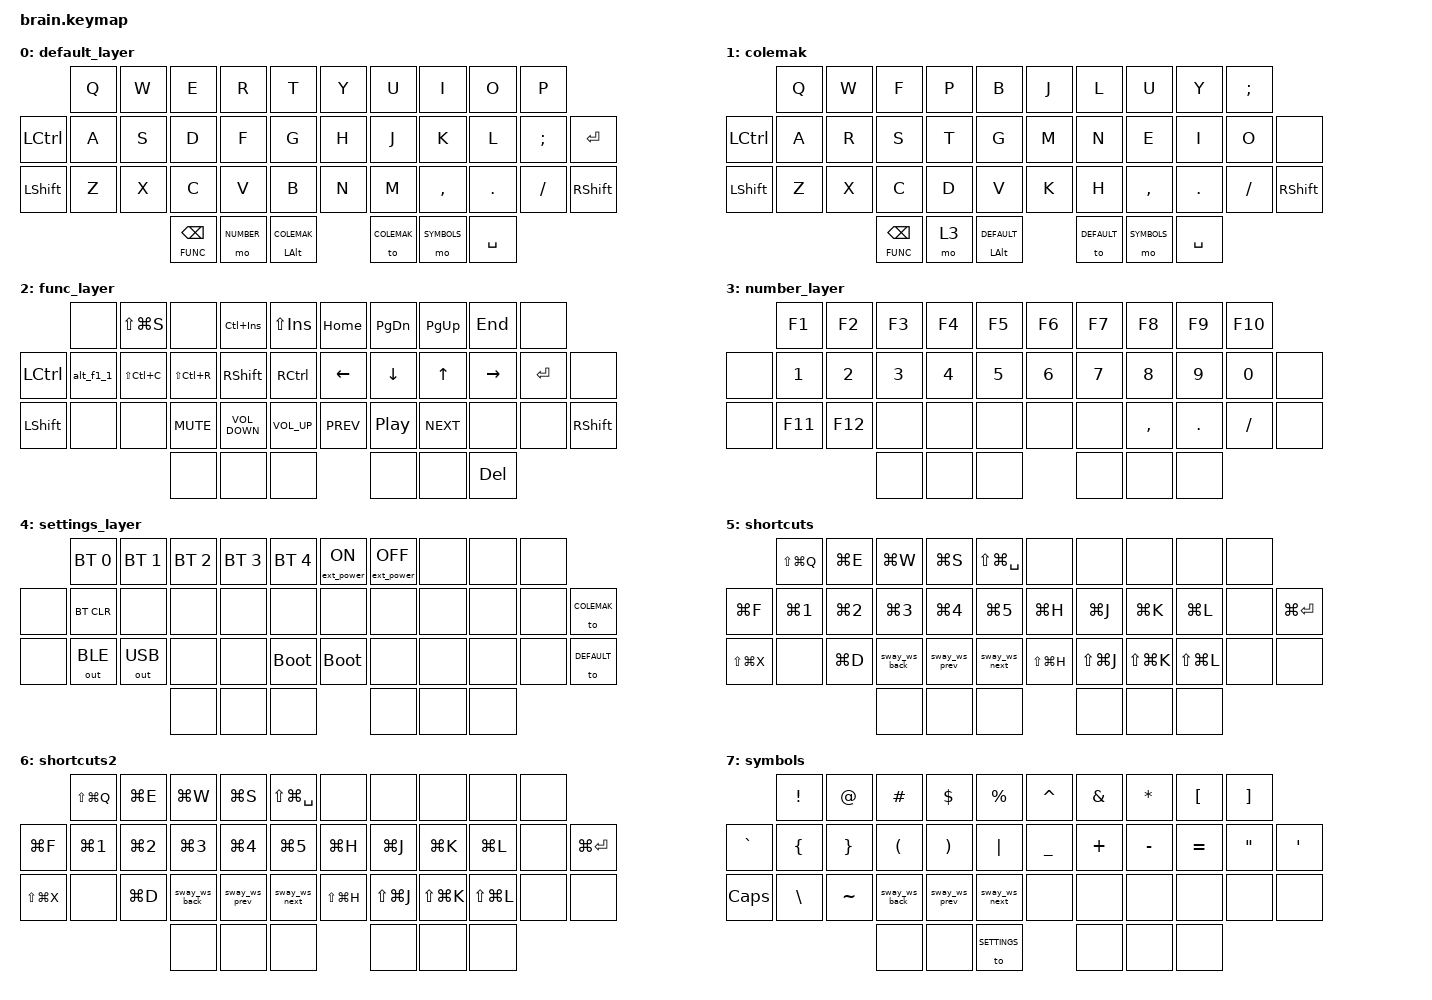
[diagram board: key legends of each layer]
/*
 * Copyright (c) 2020 The ZMK Contributors
 *
 * SPDX-License-Identifier: MIT
 */

#include <behaviors.dtsi>
#include <dt-bindings/zmk/bt.h>
#include <dt-bindings/zmk/ext_power.h>
#include <dt-bindings/zmk/keys.h>
#include <dt-bindings/zmk/outputs.h>
#ifndef KEYMAP_DRAWER
#include "swe_keys.h"
#endif

#define DEFAULT     0
#define COLEMAK		1
#define FUNC        2
#define NUMBER      3
#define SETTINGS    4
#define SHORTCUTS    5
#define SHORTCUTS2    6
#define SYMBOLS    7

/ {
    behaviors {

        lt_spc: lt_spc {
            compatible = "zmk,behavior-hold-tap";
            label = "LT_SPC";
            bindings = <&mo>, <&kp>;

            #binding-cells = <2>;
            quick-tap-ms = <200>;
            tapping-term-ms = <200>;
            flavor = "tap-preferred";
        };

        lt_tog: layer_toggle_tap {
            compatible = "zmk,behavior-hold-tap";
            label = "LAYER_TOGGLE_TAP";
            #binding-cells = <2>;
            tapping-term-ms = <200>;
            quick-tap-ms = <0>;
            flavor = "tap-preferred";
            bindings = <&kp>, <&to>;
        };
    };
    
    /*           40 Keys
╭─────────────────╮ ╭─────────────────╮
│    0  1  2  3  4│ │ 5  6  7  8  9   │
│10 11 12 13 14 15│ │16 17 18 19 20 21│
│22 23 24 25 26 27│ │28 29 30 31 32 33│
╰────────╮34 35 36│ │37 38 39╭────────╯
         ╰────────╯ ╰────────╯       */

    combos {
        compatible = "zmk,combos";

        combo_esc {
            timeout-ms = <50>;
            key-positions = <17 18>;
            bindings = <&kp ESC>;
        };

        combo_tab {
            timeout-ms = <50>;
            key-positions = <14 15>;
            bindings = <&kp TAB>;
        };


        combo_lgui {
            timeout-ms = <50>;
            key-positions = <24 25>;
            bindings = <&kp LGUI>;
        };

        escape2 {
            bindings = <&kp ESCAPE>;
            key-positions = <0 1>;
            timeout-ms = <50>;
        };

        tab_right {
            bindings = <&kp TAB>;
            key-positions = <16 17>;
            timeout-ms = <10>;
        };
    };

    macros {
        alt_f1_1: alt_f1_1 {
            compatible = "zmk,behavior-macro";
            #binding-cells = <0>;
            bindings = <&kp LA(F1) &kp LA(NUMBER_1)>;
	    label = "ALT_F1_1";
	};
	sway_ws_next: sway_ws_next {
		compatible = "zmk,behavior-macro";
		#binding-cells = <0>;
		bindings = <&kp LS(LG(N))>;
		label = "SWAY_WS_NEXT";
	};

	sway_ws_prev: sway_ws_prev {
		compatible = "zmk,behavior-macro";
		#binding-cells = <0>;
		bindings = <&kp LS(LG(P))>;
		label = "SWAY_WS_PREV";
	};

	sway_ws_back: sway_ws_back {
		compatible = "zmk,behavior-macro";
		#binding-cells = <0>;
		bindings = <&kp LS(LG(B))>;
		label = "SWAY_WS_BACK";
	};
    };

    keymap {
        compatible = "zmk,keymap";

        /*
         * Layer 0 — DEFAULT (QWERTY)
         *          ┌─────┬─────┬─────┬─────┬─────┐   ┌─────┬─────┬─────┬─────┬─────┐
         *          │  Q  │  W  │  E  │  R  │  T  │   │  Y  │  U  │  I  │  O  │  P  │
         * ┌────────┼─────┼─────┼─────┼─────┼─────┤   ├─────┼─────┼─────┼─────┼─────┼────────┐
         * │ LCTRL  │  A  │  S  │  D  │  F  │  G  │   │  H  │  J  │  K  │  L  │  ;  │  RET   │
         * ├────────┼─────┼─────┼─────┼─────┼─────┤   ├─────┼─────┼─────┼─────┼─────┼────────┤
         * │ LSHIFT │  Z  │  X  │  C  │  V  │  B  │   │  N  │  M  │  ,  │  .  │  /  │ RSHIFT │
         * └────────┴─────┴─────┴─────┴─────┴─────┘   └─────┴─────┴─────┴─────┴─────┴────────┘
         *                 ┌─────────┬─────┬─────────┐   ┌─────────┬─────┬─────┐
         *                 │ BSPC/L2 │ MO3 │ LALT/L6 │   │  DEL/L5 │ MO1 │ SPC │
         *                 └─────────┴─────┴─────────┘   └─────────┴─────┴─────┘
         */
        default_layer {
            bindings = <
            &kp Q  &kp W  &kp E                &kp R  &kp T	         	    &kp Y       &kp U  &kp I                         &kp O    &kp P
&kp LCTRL   &kp A  &kp S  &kp D                &kp F  &kp G         		&kp H       &kp J  &kp K                         &kp L    &kp SEMI  &kp RET
&kp LSHIFT  &kp Z  &kp X  &kp C                &kp V  &kp B         		&kp N       &kp M  &kp COMMA                     &kp DOT  &kp FSLH  &kp RSHIFT
                          &lt_spc FUNC BACKSPACE  &mo NUMBER  &lt_tog LALT COLEMAK	 	&to COLEMAK     &mo SYMBOLS  &kp SPACE
            >;
        };


        /*
         * Layer 7 — COLEMAK
         *          ┌─────┬─────┬─────┬─────┬─────┐   ┌─────┬─────┬─────┬─────┬─────┐
         *          │  Q  │  W  │  F  │  P  │  G  │   │  J  │  L  │  U  │  Y  │  ;  │
         * ┌────────┼─────┼─────┼─────┼─────┼─────┤   ├─────┼─────┼─────┼─────┼─────┼────────┐
         * │ LCTRL  │  A  │  R  │  S  │  T  │  D  │   │  H  │  N  │  E  │  I  │  O  │  RET   │
         * ├────────┼─────┼─────┼─────┼─────┼─────┤   ├─────┼─────┼─────┼─────┼─────┼────────┤
         * │ LSHIFT │  Z  │  X  │  C  │  V  │  B  │   │  K  │  M  │  ,  │  .  │  /  │ RSHIFT │
         * └────────┴─────┴─────┴─────┴─────┴─────┘   └─────┴─────┴─────┴─────┴─────┴────────┘
         *                 ┌─────────┬─────┬─────────┐   ┌─────────┬─────┬─────┐
         *                 │ BSPC/L2 │ MO3 │ LALT/L6 │   │  DEL/L5 │ MO1 │ SPC │
         *                 └─────────┴─────┴─────────┘   └─────────┴─────┴─────┘
         */
        colemak {
            bindings = <
            &kp Q  &kp W  &kp F                &kp P  &kp B	         	    &kp J       &kp L  &kp U        &kp Y    &kp SEMI
&kp LCTRL   &kp A  &kp R  &kp S                &kp T  &kp G         		&kp M       &kp N  &kp E        &kp I    &kp O     &none
&kp LSHIFT  &kp Z  &kp X  &kp C                &kp D  &kp V         		&kp K       &kp H  &kp COMMA    &kp DOT  &kp FSLH  &kp RSHIFT
                          &lt_spc FUNC BACKSPACE  &mo 3  &lt_tog LALT DEFAULT	 	&to DEFAULT &mo SYMBOLS  &kp SPACE
            >;
        };

        /*
         * Layer 2 — FUNC
         *          ┌─────┬─────┬─────┬─────┬─────┐   ┌─────┬─────┬─────┬─────┬─────┐
         *          │     │GS+S │     │C+INS│S+INS│   │HOME │PGDN │PGUP │ END │     │
         * ┌────────┼─────┼─────┼─────┼─────┼─────┤   ├─────┼─────┼─────┼─────┼─────┼────────┐
         * │ to:0   │AF1+1│SC+C │SC+R │RSHFT│RCTL │   │  ←  │  ↓  │  ↑  │  →  │     │        │
         * ├────────┼─────┼─────┼─────┼─────┼─────┤   ├─────┼─────┼─────┼─────┼─────┼────────┤
         * │ to:2   │     │     │MUTE │VOL- │VOL+ │   │PREV │ PP  │NEXT │     │     │        │
         * └────────┴─────┴─────┴─────┴─────┴─────┘   └─────┴─────┴─────┴─────┴─────┴────────┘
         *                 ┌─────────┬─────┬─────────┐   ┌─────────┬─────┬─────┐
         *                 │         │  ▽  │    ▽    │   │    ▽    │  ▽  │     │
         *                 └─────────┴─────┴─────────┘   └─────────┴─────┴─────┘
         */
        func_layer {
            bindings = <
            &none      &kp LS(LG(S))  &none          &kp LC(INSERT)     &kp LS(INSERT)     &kp HOME        &kp PAGE_DOWN   &kp PAGE_UP   &kp END        &none
&kp LCTRL   &alt_f1_1  &kp LS(LC(C))  &kp LS(LC(R))  &kp RIGHT_SHIFT    &kp RIGHT_CONTROL  &kp LEFT_ARROW  &kp DOWN_ARROW  &kp UP_ARROW  &kp RIGHT      &kp RET  &none
&kp LSHIFT  &none      &none          &kp K_MUTE     &kp C_VOLUME_DOWN  &kp C_VOLUME_UP    &kp C_PREV      &kp C_PP        &kp C_NEXT    &none          &none    &kp RSHIFT
                                 &none          &none   &none       &none   &none   &kp DELETE
            >;
        };


        /*
         * Layer 3 — NUMBER
         *          ┌─────┬─────┬─────┬─────┬─────┐   ┌─────┬─────┬─────┬─────┬─────┐
         *          │ F1  │ F2  │ F3  │ F4  │ F5  │   │ F6  │ F7  │ F8  │ F9  │ F10 │
         * ┌────────┼─────┼─────┼─────┼─────┼─────┤   ├─────┼─────┼─────┼─────┼─────┼────────┐
         * │        │  1  │  2  │  3  │  4  │  5  │   │  6  │  7  │  8  │  9  │  0  │        │
         * ├────────┼─────┼─────┼─────┼─────┼─────┤   ├─────┼─────┼─────┼─────┼─────┼────────┤
         * │        │ F11 │ F12 │     │     │     │   │     │     │  ,  │  .  │  /  │        │
         * └────────┴─────┴─────┴─────┴─────┴─────┘   └─────┴─────┴─────┴─────┴─────┴────────┘
         *                 ┌─────────┬─────┬─────────┐   ┌─────────┬─────┬─────┐
         *                 │         │  ▽  │    ▽    │   │    ▽    │     │     │
         *                 └─────────┴─────┴─────────┘   └─────────┴─────┴─────┘
         */
        number_layer {
            bindings = <
       &kp F1        &kp F2        &kp F3        &kp F4        &kp F5        &kp F6        &kp F7        &kp F8        &kp F9        &kp F10
&none  &kp NUMBER_1  &kp NUMBER_2  &kp NUMBER_3  &kp NUMBER_4  &kp NUMBER_5  &kp NUMBER_6  &kp NUMBER_7  &kp NUMBER_8  &kp NUMBER_9  &kp NUMBER_0  &none
&none  &kp F11       &kp F12       &none         &none         &none         &none         &none         &kp COMMA     &kp PERIOD    &kp SLASH     &none
                                   &none         &none  &none   &none   &none         &none
            >;
        };

        /*
         * Layer 4 — SETTINGS  (tri-layer L2 + L3)
         *          ┌─────┬─────┬─────┬─────┬─────┐   ┌─────┬─────┬─────┬─────┬─────┐
         *          │ BT0 │ BT1 │ BT2 │ BT3 │ BT4 │   │EP_ON│EPOFF│     │     │     │
         * ┌────────┼─────┼─────┼─────┼─────┼─────┤   ├─────┼─────┼─────┼─────┼─────┼────────┐
         * │        │BTCLR│     │     │     │     │   │     │     │     │     │     │to:CLMK │
         * ├────────┼─────┼─────┼─────┼─────┼─────┤   ├─────┼─────┼─────┼─────┼─────┼────────┤
         * │        │ BLE │ USB │     │     │BOOT │   │BOOT │     │     │     │     │to:DFLT │
         * └────────┴─────┴─────┴─────┴─────┴─────┘   └─────┴─────┴─────┴─────┴─────┴────────┘
         *                 ┌─────────┬─────┬─────────┐   ┌─────────┬─────┬─────┐
         *                 │         │  ▽  │    ▽    │   │    ▽    │  ▽  │     │
         *                 └─────────┴─────┴─────────┘   └─────────┴─────┴─────┘
         */
        settings_layer {
            bindings = <
       &bt BT_SEL 0  &bt BT_SEL 1  &bt BT_SEL 2  &bt BT_SEL 3  &bt BT_SEL 4  &ext_power EP_ON  &ext_power EP_OFF  &none  &none  &none
&none  &bt BT_CLR    &none         &none         &none         &none         &none             &none              &none  &none  &none  &to COLEMAK
&none  &out OUT_BLE  &out OUT_USB  &none         &none         &bootloader   &bootloader       &none              &none  &none  &none  &to DEFAULT
                                   &none         &none  &none   &none   &none   &none
            >;
        };

        /*
         * Layer 5 — SHORTCUTS
         *          ┌─────┬─────┬─────┬─────┬─────┐   ┌─────┬─────┬─────┬─────┬─────┐
         *          │GS+Q │ G+E │ G+W │ G+S │GS+SP│   │     │     │     │     │     │
         * ┌────────┼─────┼─────┼─────┼─────┼─────┤   ├─────┼─────┼─────┼─────┼─────┼────────┐
         * │ G+F    │ G+1 │ G+2 │ G+3 │ G+4 │ G+5 │   │ G+H │ G+J │ G+K │ G+L │     │ G+RET  │
         * ├────────┼─────┼─────┼─────┼─────┼─────┤   ├─────┼─────┼─────┼─────┼─────┼────────┤
         * │ GS+X   │     │ G+D │ws_bk│ws_pv│ws_nx│   │GS+H │GS+J │GS+K │GS+L │     │        │
         * └────────┴─────┴─────┴─────┴─────┴─────┘   └─────┴─────┴─────┴─────┴─────┴────────┘
         *                 ┌─────────┬─────┬─────────┐   ┌─────────┬─────┬─────┐
         *                 │         │     │         │   │         │     │     │
         *                 └─────────┴─────┴─────────┘   └─────────┴─────┴─────┘
         */
        shortcuts {
            bindings = <
       &kp LS(LG(Q)) &kp LG(E)  &kp LG(W) &kp LG(S) &kp LS(LG(SPACE))		&none  &none  &none  &none  &none
&kp LG(F) &kp LG(N1) &kp LG(N2)  &kp LG(N3) &kp LG(N4) &kp LG(N5)			        &kp LG(H) &kp LG(J)  &kp LG(K) &kp LG(L) &none &kp LG(RET)
&kp LS(LG(X)) &none  &kp LG(D) &sway_ws_back	&sway_ws_prev	&sway_ws_next  		&kp LS(LG(H)) &kp LS(LG(J))  &kp LS(LG(K)) &kp LS(LG(L)) &none &none
                     					&none  &none	&none			&none  &none  &none  
            >;
        };

        /*
         * Layer 6 — SHORTCUTS2  (same as SHORTCUTS)
         *          ┌─────┬─────┬─────┬─────┬─────┐   ┌─────┬─────┬─────┬─────┬─────┐
         *          │GS+Q │ G+E │ G+W │ G+S │GS+SP│   │     │     │     │     │     │
         * ┌────────┼─────┼─────┼─────┼─────┼─────┤   ├─────┼─────┼─────┼─────┼─────┼────────┐
         * │ G+F    │ G+1 │ G+2 │ G+3 │ G+4 │ G+5 │   │ G+H │ G+J │ G+K │ G+L │     │ G+RET  │
         * ├────────┼─────┼─────┼─────┼─────┼─────┤   ├─────┼─────┼─────┼─────┼─────┼────────┤
         * │ GS+X   │     │ G+D │ws_bk│ws_pv│ws_nx│   │GS+H │GS+J │GS+K │GS+L │     │        │
         * └────────┴─────┴─────┴─────┴─────┴─────┘   └─────┴─────┴─────┴─────┴─────┴────────┘
         *                 ┌─────────┬─────┬─────────┐   ┌─────────┬─────┬─────┐
         *                 │         │     │         │   │         │     │     │
         *                 └─────────┴─────┴─────────┘   └─────────┴─────┴─────┘
         */
        shortcuts2 {
            bindings = <
       &kp LS(LG(Q)) &kp LG(E)  &kp LG(W) &kp LG(S) &kp LS(LG(SPACE))		&none  &none  &none  &none  &none
&kp LG(F) &kp LG(N1) &kp LG(N2)  &kp LG(N3) &kp LG(N4) &kp LG(N5)			        &kp LG(H) &kp LG(J)  &kp LG(K) &kp LG(L) &none &kp LG(RET)
&kp LS(LG(X)) &none  &kp LG(D) &sway_ws_back	&sway_ws_prev	&sway_ws_next  		&kp LS(LG(H)) &kp LS(LG(J))  &kp LS(LG(K)) &kp LS(LG(L)) &none &none
                     					&none  &none	&none			&none  &none  &none  
            >;
        };

        /*
         * Layer 1 — SYMBOLS
         *          ┌─────┬─────┬─────┬─────┬─────┐   ┌─────┬─────┬─────┬─────┬─────┐
         *          │  !  │  @  │  #  │  $  │  %  │   │  ^  │  &  │  *  │  [  │  ]  │
         * ┌────────┼─────┼─────┼─────┼─────┼─────┤   ├─────┼─────┼─────┼─────┼─────┼────────┐
         * │   `    │  {  │  }  │  (  │  )  │  |  │   │  _  │  +  │  -  │  =  │  "  │   '    │
         * ├────────┼─────┼─────┼─────┼─────┼─────┤   ├─────┼─────┼─────┼─────┼─────┼────────┤
         * │  CAPS  │  \  │  ~  │ws_bk│ws_pv│ws_nx│   │     │     │     │     │     │        │
         * └────────┴─────┴─────┴─────┴─────┴─────┘   └─────┴─────┴─────┴─────┴─────┴────────┘
         *                 ┌─────────┬─────┬─────────┐   ┌─────────┬─────┬─────┐
         *                 │         │     │ to:SET  │   │    ▽    │  ▽  │     │
         *                 └─────────┴─────┴─────────┘   └─────────┴─────┴─────┘
         */
        symbols {
            bindings = <
              &kp EXCLAMATION       &kp AT_SIGN      &kp HASH              &kp DOLLAR             &kp PERCENT  			&kp CARET       &kp AMPERSAND  &kp ASTERISK  &kp LEFT_BRACKET  &kp RIGHT_BRACKET
&kp GRAVE     &kp LEFT_BRACE        &kp RIGHT_BRACE  &kp LEFT_PARENTHESIS  &kp RIGHT_PARENTHESIS  &kp PIPE    			&kp UNDERSCORE  &kp PLUS       &kp MINUS     &kp EQUAL         &kp DOUBLE_QUOTES  &kp SQT
&kp CAPSLOCK  &kp BACKSLASH  	    &kp TILDE        &sway_ws_back	&sway_ws_prev	&sway_ws_next			&none           &none          &none         &none             &none              &none
                        &none  &none    &to SETTINGS       &none   &none   &none
            >;
        };

    };
};
